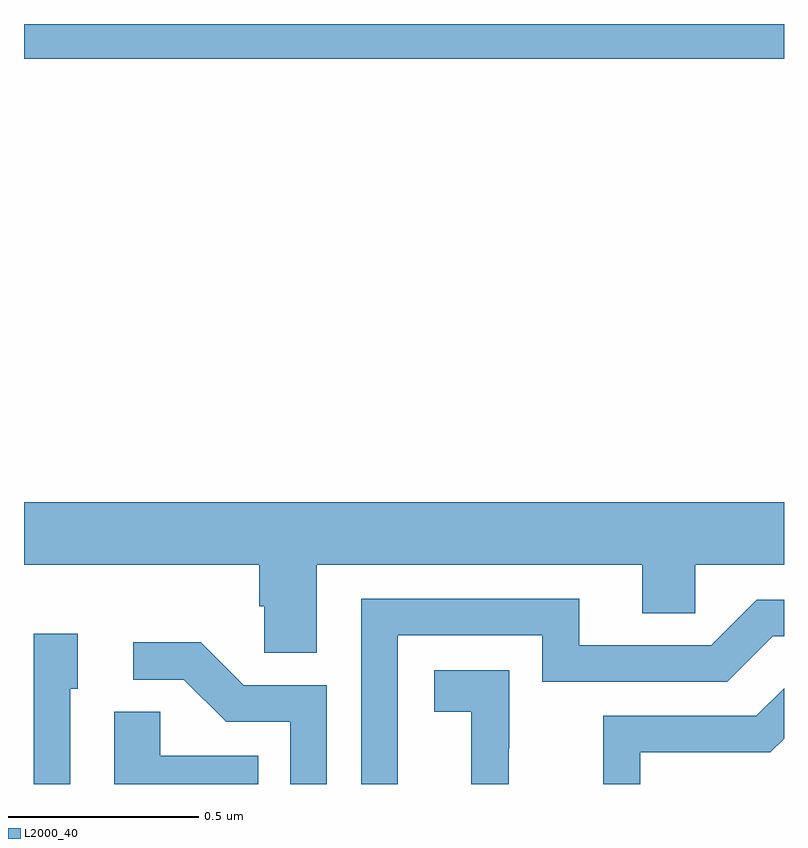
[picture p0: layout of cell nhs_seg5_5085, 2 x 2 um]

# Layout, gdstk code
import gdstk
lib = gdstk.Library(unit=1e-6, precision=1e-09)
def R(c, l, rs):  # rectangles x0, y0, x1, y1
    for r in rs: c.add(gdstk.rectangle(r[:2], r[2:], *l))
def P(c, l, *ps):  # polygons
    for p in ps: c.add(gdstk.Polygon(p, *l))
L2000_40 = (2000, 40)

nhs_seg5_5085 = lib.new_cell('nhs_seg5_5085')
R(nhs_seg5_5085, L2000_40, [(178,908.708,180,908.799)])
P(nhs_seg5_5085, L2000_40, [(178.771,907.376),(179.627,907.376),(179.627,907.249),(179.766,907.249),(179.766,907.376),(180,907.376),(180,907.54),(178,907.54),(178,907.376),(178.619,907.376),(178.619,907.267),(178.632,907.267),(178.632,907.144),(178.771,907.144)],
  [(178.983,907.191),(179.364,907.191),(179.364,907.068),(179.85,907.068),(179.97,907.188),(180,907.188),(180,907.284),(179.928,907.284),(179.808,907.164),(179.461,907.164),(179.461,907.287),(178.887,907.287),(178.887,906.799),(178.983,906.799)],
  [(178.122,907.05),(178.141,907.05),(178.141,907.195),(178.026,907.195),(178.026,906.799),(178.122,906.799)],
  [(178.797,907.059),(178.578,907.059),(178.465,907.172),(178.287,907.172),(178.287,907.074),(178.421,907.074),(178.532,906.963),(178.701,906.963),(178.701,906.799),(178.797,906.799)],
  [(179.276,906.893),(179.277,906.893),(179.277,907.099),(179.079,907.099),(179.079,906.989),(179.177,906.989),(179.177,906.799),(179.276,906.799)],
  [(179.622,906.882),(179.964,906.882),(180,906.918),(180,907.051),(179.927,906.978),(179.524,906.978),(179.524,906.799),(179.622,906.799)],
  [(178.616,906.874),(178.359,906.874),(178.359,906.989),(178.238,906.989),(178.238,906.799),(178.616,906.799)])

lib.write_gds('nhs_seg5_5085.gds')
